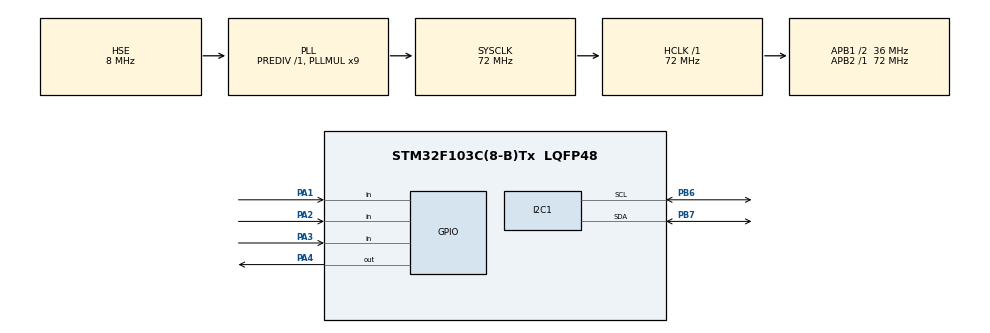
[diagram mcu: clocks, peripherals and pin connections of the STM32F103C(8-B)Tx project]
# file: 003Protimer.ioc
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Mcu.Family=STM32F1
Mcu.Name=STM32F103C(8-B)Tx
Mcu.Package=LQFP48
NVIC.PriorityGroup=NVIC_PRIORITYGROUP_4
PA1.GPIO_PuPd=GPIO_PULLDOWN
PA1.Signal=GPIO_Input
PA13.Mode=Serial_Wire
PA13.Signal=SYS_JTMS-SWDIO
PA14.Mode=Serial_Wire
PA14.Signal=SYS_JTCK-SWCLK
PA2.GPIO_PuPd=GPIO_PULLDOWN
PA2.Signal=GPIO_Input
PA3.GPIO_PuPd=GPIO_PULLDOWN
PA3.Signal=GPIO_Input
PA4.Signal=GPIO_Output
PB6.Mode=I2C
PB6.Signal=I2C1_SCL
PB7.Mode=I2C
PB7.Signal=I2C1_SDA
PD0-OSC_IN.Mode=HSE-External-Oscillator
PD0-OSC_IN.Signal=RCC_OSC_IN
PD1-OSC_OUT.Mode=HSE-External-Oscillator
PD1-OSC_OUT.Signal=RCC_OSC_OUT
ProjectManager.HeapSize=0x200
ProjectManager.StackSize=0x400
ProjectManager.TargetToolchain=MDK-ARM V5.32
RCC.AHBFreq_Value=72000000
RCC.APB1CLKDivider=RCC_HCLK_DIV2
RCC.APB1Freq_Value=36000000
RCC.APB1TimFreq_Value=72000000
RCC.APB2Freq_Value=72000000
RCC.APB2TimFreq_Value=72000000
RCC.HCLKFreq_Value=72000000
RCC.PLLMUL=RCC_PLL_MUL9
RCC.PLLSourceVirtual=RCC_PLLSOURCE_HSE
RCC.SYSCLKFreq_VALUE=72000000
RCC.SYSCLKSource=RCC_SYSCLKSOURCE_PLLCLK
RCC.USBFreq_Value=72000000
board=custom

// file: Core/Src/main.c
/* USER CODE BEGIN Header */
/**
  ******************************************************************************
  * @file           : main.c
  * @brief          : Main program body
  ******************************************************************************
  * @attention
  *
  * Copyright (c) 2024 STMicroelectronics.
  * All rights reserved.
  *
  * This software is licensed under terms that can be found in the LICENSE file
  * in the root directory of this software component.
  * If no LICENSE file comes with this software, it is provided AS-IS.
  *
  ******************************************************************************
  */
/* USER CODE END Header */
#include "main.h"

/* USER CODE BEGIN Includes */
#include "main_user.h"
#include "LCD_I2C_lib.h"
/* USER CODE END Includes */

I2C_HandleTypeDef hi2c1;

void SystemClock_Config(void);
static void MX_GPIO_Init(void);
static void MX_I2C1_Init(void);

/* USER CODE BEGIN 0 */
/* Main application abject */
CLCD_I2C_Name LCD1;
static protimer_t protimer;

//////////////////////button fuctions/////////////////////////////
static uint8_t process_button_pad_value(uint8_t btn_pad_value)
{
  static button_state_t btn_sm_state = NOT_PRESSED;
  static uint32_t curr_time = 0;

  switch(btn_sm_state){
    case NOT_PRESSED:{
      if(btn_pad_value){
        btn_sm_state = BOUNCE;
        curr_time = HAL_GetTick();
      }
      break;
    }
    case BOUNCE:{
      if(HAL_GetTick() - curr_time >= 50 ){
        //50ms has passed
        if(btn_pad_value){
          btn_sm_state = PRESSED;
          return btn_pad_value;
        }
        else
          btn_sm_state = NOT_PRESSED;
      }
      break;
    }
    case PRESSED:{
      if(!btn_pad_value){
        btn_sm_state = BOUNCE;
        curr_time = HAL_GetTick();
      }
			// Handle when button is holding
			else{
				if(HAL_GetTick() - curr_time >= 300 ){
					btn_sm_state = BOUNCE;
					curr_time = HAL_GetTick();
				}
			}
      break;
    }

  }

  return 0;
}

static void protimer_event_dispatcher(protimer_t *const mobj,event_t const *const e){
	event_status_t status;
	protimer_state_t source, taget;

	source = mobj -> active_state;

	status = protimer_state_machine(mobj,e);
	if(status == EVENT_TRANSITION){
		taget = mobj -> active_state;
		event_t ee;
	// 1. run the exit action for the source state
		ee.sig = EXIT;
		mobj->active_state = source;
		protimer_state_machine(mobj,&ee);
	// 2. run the entry action for the taget state
		ee.sig = ENTRY;
		mobj->active_state = taget;
		protimer_state_machine(mobj,&ee);
	}
}

/* USER CODE END 0 */

int main(void)
{

  /* MCU Configuration--------------------------------------------------------*/

  /* Reset of all peripherals, Initializes the Flash interface and the Systick. */
  HAL_Init();

  /* Configure the system clock */
  SystemClock_Config();

  /* Initialize all configured peripherals */
  MX_GPIO_Init();
  MX_I2C1_Init();
  /* USER CODE BEGIN 2 */
	CLCD_I2C_Init(&LCD1,&hi2c1,0x4e,20,4);
	protimer_init(&protimer);
  /* USER CODE END 2 */

  /* Infinite loop */
  while (1)
  {

    /* USER CODE BEGIN 3 */
		uint8_t b1,b2,b3,btn_pad_value;
		protimer_user_event_t ue;
		protimer_tick_event_t te;
		static uint32_t current_time = 0;
		//1. read the button pad status

		b1 = HAL_GPIO_ReadPin(GPIOA,GPIO_PIN_1);
		b2 = HAL_GPIO_ReadPin(GPIOA,GPIO_PIN_2);
		b3 = HAL_GPIO_ReadPin(GPIOA,GPIO_PIN_3);

		btn_pad_value = (b1<<2)|(b2<<1)|b3;
		// software button de-bouncing
		btn_pad_value = process_button_pad_value(btn_pad_value);
		//2. make an event (user event)
		if(btn_pad_value){
			if(btn_pad_value == BTN_PAD_VALUE_INC_TIME){
				ue.super.sig = INC_TIME;
			}else if(btn_pad_value == BTN_PAD_VALUE_DEC_TIME){
				ue.super.sig = DEC_TIME;
			}else if(btn_pad_value == BTN_PAD_VALUE_SP){
				ue.super.sig = START_PAUSE;
			}else if(btn_pad_value == BTN_PAD_VALUE_ABRT){
				ue.super.sig = ABRT;
			}
			//3. send it to event dispatcher (user event)
			protimer_event_dispatcher(&protimer,&ue.super);
		}

		//4. dispatch the time tick event for every 100ms
		if(HAL_GetTick()-current_time >=100){
			// 100ms has passed
			current_time = HAL_GetTick();
			te.super.sig = TIME_TICK;
			++te.ss;
			if(te.ss > 10) te.ss = 1;
			protimer_event_dispatcher(&protimer,&te.super);

  }
}
  /* USER CODE END 3 */
}

void SystemClock_Config(void)
{
  RCC_OscInitTypeDef RCC_OscInitStruct = {0};
  RCC_ClkInitTypeDef RCC_ClkInitStruct = {0};

  /** Initializes the RCC Oscillators according to the specified parameters
  * in the RCC_OscInitTypeDef structure.
  */
  RCC_OscInitStruct.OscillatorType = RCC_OSCILLATORTYPE_HSE;
  RCC_OscInitStruct.HSEState = RCC_HSE_ON;
  RCC_OscInitStruct.HSEPredivValue = RCC_HSE_PREDIV_DIV1;
  RCC_OscInitStruct.HSIState = RCC_HSI_ON;
  RCC_OscInitStruct.PLL.PLLState = RCC_PLL_ON;
  RCC_OscInitStruct.PLL.PLLSource = RCC_PLLSOURCE_HSE;
  RCC_OscInitStruct.PLL.PLLMUL = RCC_PLL_MUL9;
  if (HAL_RCC_OscConfig(&RCC_OscInitStruct) != HAL_OK)
  {
    Error_Handler();
  }

  /** Initializes the CPU, AHB and APB buses clocks
  */
  RCC_ClkInitStruct.ClockType = RCC_CLOCKTYPE_HCLK|RCC_CLOCKTYPE_SYSCLK
                              |RCC_CLOCKTYPE_PCLK1|RCC_CLOCKTYPE_PCLK2;
  RCC_ClkInitStruct.SYSCLKSource = RCC_SYSCLKSOURCE_PLLCLK;
  RCC_ClkInitStruct.AHBCLKDivider = RCC_SYSCLK_DIV1;
  RCC_ClkInitStruct.APB1CLKDivider = RCC_HCLK_DIV2;
  RCC_ClkInitStruct.APB2CLKDivider = RCC_HCLK_DIV1;

  if (HAL_RCC_ClockConfig(&RCC_ClkInitStruct, FLASH_LATENCY_2) != HAL_OK)
  {
    Error_Handler();
  }
}

static void MX_I2C1_Init(void)
{

  hi2c1.Instance = I2C1;
  hi2c1.Init.ClockSpeed = 100000;
  hi2c1.Init.DutyCycle = I2C_DUTYCYCLE_2;
  hi2c1.Init.OwnAddress1 = 0;
  hi2c1.Init.AddressingMode = I2C_ADDRESSINGMODE_7BIT;
  hi2c1.Init.DualAddressMode = I2C_DUALADDRESS_DISABLE;
  hi2c1.Init.OwnAddress2 = 0;
  hi2c1.Init.GeneralCallMode = I2C_GENERALCALL_DISABLE;
  hi2c1.Init.NoStretchMode = I2C_NOSTRETCH_DISABLE;
  if (HAL_I2C_Init(&hi2c1) != HAL_OK)
  {
    Error_Handler();
  }

}

static void MX_GPIO_Init(void)
{
  GPIO_InitTypeDef GPIO_InitStruct = {0};

  /* GPIO Ports Clock Enable */
  __HAL_RCC_GPIOD_CLK_ENABLE();
  __HAL_RCC_GPIOA_CLK_ENABLE();
  __HAL_RCC_GPIOB_CLK_ENABLE();

  /*Configure GPIO pin Output Level */
  HAL_GPIO_WritePin(GPIOA, GPIO_PIN_4, GPIO_PIN_RESET);

  /*Configure GPIO pins : PA1 PA2 PA3 */
  GPIO_InitStruct.Pin = GPIO_PIN_1|GPIO_PIN_2|GPIO_PIN_3;
  GPIO_InitStruct.Mode = GPIO_MODE_INPUT;
  GPIO_InitStruct.Pull = GPIO_PULLDOWN;
  HAL_GPIO_Init(GPIOA, &GPIO_InitStruct);

  /*Configure GPIO pin : PA4 */
  GPIO_InitStruct.Pin = GPIO_PIN_4;
  GPIO_InitStruct.Mode = GPIO_MODE_OUTPUT_PP;
  GPIO_InitStruct.Pull = GPIO_NOPULL;
  GPIO_InitStruct.Speed = GPIO_SPEED_FREQ_LOW;
  HAL_GPIO_Init(GPIOA, &GPIO_InitStruct);

}

void Error_Handler(void)
{
  __disable_irq();
  while (1)
  {
  }
}
